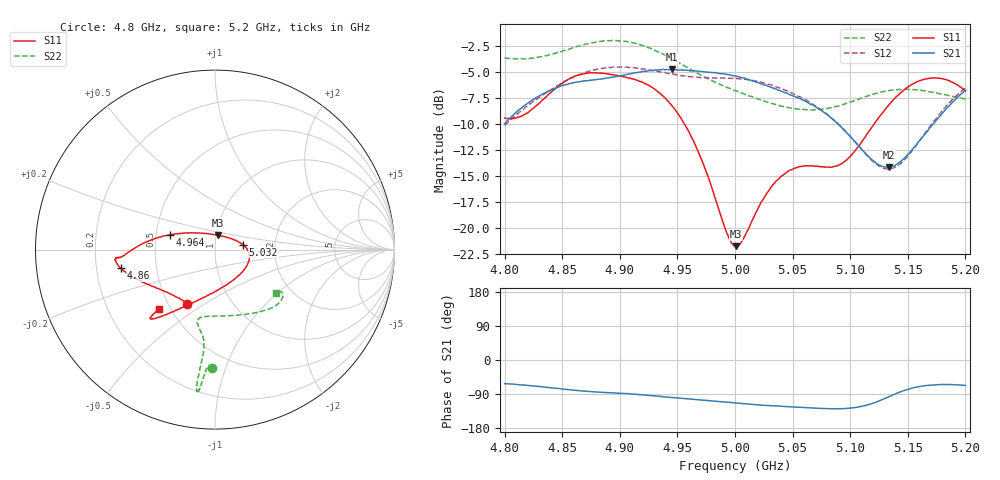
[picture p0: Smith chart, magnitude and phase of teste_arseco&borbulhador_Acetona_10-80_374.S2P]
! Network Analyzer HP8722D
! Hewlett-Packard
! Data name: Linha & Wilkinson
! Saver's name: Rodrigo Anjos
! Comments: Teste da utilização de aquisição
! continua pelo VNA HP8722D
! Time and date: 17/4/2025 17:28
!  Frequency  S11  S21  S12  S22
# HZ  S  MA R 50
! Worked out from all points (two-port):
!   401 points, 4.8 GHz to 5.2 GHz, reference 50 ohm
!   highest |S21| = -4.74 dB at 4.945 GHz (marker M1); lowest = -14.2 dB at 5.134 GHz (marker M2)
!   |S21| within 3 dB of the highest: 4.823 GHz to 5.06 GHz (236.6 MHz wide, 4.79 % of centre); 5.190389 GHz to end of sweep
!   lowest |S11| = -21.8 dB at 5.001 GHz (marker M3), VSWR 1.18, Z = 50.9 + j8.2 ohm
!   |S11| at or under -10 dB: 4.956 GHz to 5.121 GHz (164.7 MHz wide, 3.27 % of centre)
!   |S22| runs from -8.6 to -1.9 dB; largest |S21 - S12| = 0.87
!   S11 on the Smith chart (normalised r, x): 4.8 GHz: 0.62, -0.42; 4.86 GHz: 0.31, -0.09; 4.964 GHz: 0.60, +0.11; 5.032 GHz: 1.37, +0.08; 5.2 GHz: 0.43, -0.36
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4.8e9  0.338 -117.2  0.3167 -62.5  0.3118 -176.6  0.6572 -91.4
4.819e9  0.3561 -137.5  0.394 -66.8  0.3832 -176.3  0.6535 -93.2
4.86e9  0.5345 -168.8  0.5 -79.5  0.5328 -179.7  0.7375 -95.6
4.867e9  0.5497 -171.4  0.5079 -81.8  0.552 179.0  0.7572 -95.8
4.9e9  0.5395 -175.3  0.5386 -87.7  0.5949 173.0  0.7963 -97.2
4.934e9  0.4489 179.1  0.5778 -96.0  0.5657 169.9  0.7004 -97.4
4.945e9  0.3895 174.0  0.5793 -98.9  0.5506 170.1  0.6519 -97.0
4.964e9  0.2618 161.5  0.57 -103.8  0.5323 171.9  0.5691 -96.4
4.975e9  0.1867 150.3  0.563 -106.4  0.5279 172.9  0.5277 -96.6
4.993e9  0.09382 111.1  0.5484 -111.2  0.5264 174.1  0.4751 -98.8
5e9  0.08221 83.6  0.5381 -113.3  0.5244 174.1  0.4578 -100.2
5.001e9  0.08152 79.3  0.5366 -113.3  0.5245 174.0  0.4573 -100.5
5.006e9  0.08614 59.7  0.5294 -114.9  0.522 174.0  0.4461 -101.6
5.032e9  0.1584 10.1  0.4741 -120.6  0.4868 172.9  0.3965 -103.3
5.047e9  0.1885 -4.2  0.4398 -123.2  0.4525 172.2  0.3789 -99.5
5.067e9  0.1989 -25.6  0.3919 -126.8  0.3958 172.1  0.3694 -88.2
5.096e9  0.2107 -75.7  0.2906 -128.0  0.2917 174.9  0.3965 -65.8
5.121e9  0.3173 -112.3  0.208 -113.0  0.2058 -167.7  0.442 -49.5
5.134e9  0.3936 -121.9  0.1959 -96.3  0.1917 -149.3  0.4587 -43.4
5.148e9  0.4686 -128.1  0.219 -79.3  0.215 -129.6  0.465 -38.2
5.168e9  0.5248 -132.5  0.2973 -66.9  0.301 -113.2  0.4524 -33.5
5.2e9  0.4571 -133.4  0.4594 -67.1  0.4715 -109.2  0.417 -35.1
